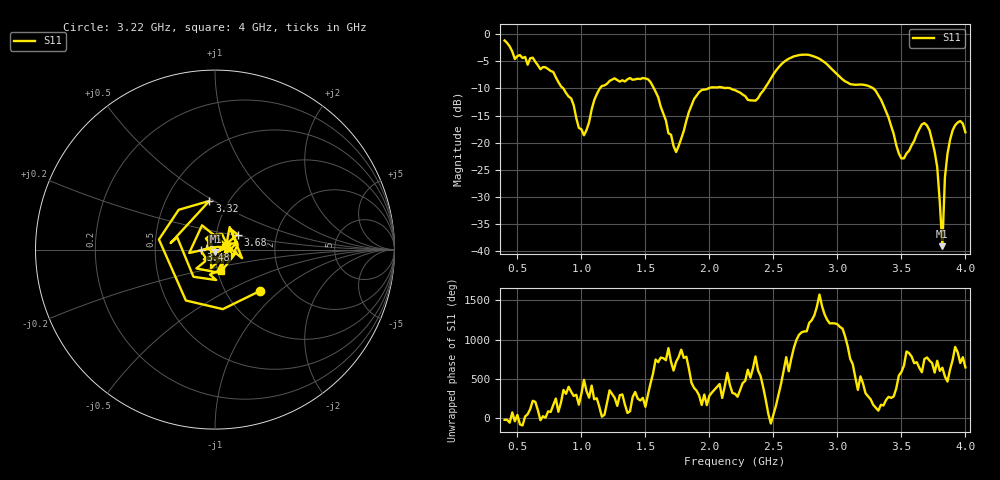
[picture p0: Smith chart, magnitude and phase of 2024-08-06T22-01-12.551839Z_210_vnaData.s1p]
!Created with skrf (http://scikit-rf.org).
# Hz S RI R 50.0
!freq ReS11 ImS11
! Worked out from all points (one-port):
!   181 points, 400 MHz to 4 GHz, reference 50 ohm
!   lowest |S11| = -39.1 dB at 3.82 GHz (marker M1), VSWR 1.02, Z = 50.2 - j1.08 ohm
!   |S11| at or under -10 dB: 858.9 MHz to 1.144 GHz (285.4 MHz wide, 28.5 % of centre); 1.567 GHz to 1.99 GHz (423.7 MHz wide, 23.8 % of centre); 3.281 GHz to end of sweep (the widest 3 of 4)
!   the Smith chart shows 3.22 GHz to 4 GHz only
!   S11 on the Smith chart (normalised r, x): 3.22 GHz: 1.43, -0.75; 3.32 GHz: 0.81, +0.48; 3.48 GHz: 0.85, -0.01; 3.68 GHz: 1.27, +0.22; 4 GHz: 1.04, -0.25
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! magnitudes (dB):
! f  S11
! 400 MHz  -1.1
! 480 MHz  -4.6
! 620 MHz  -4.3
! 860 MHz  -10.0
! 1.02 GHz  -18.7
! 1.14 GHz  -10.1
! 1.3 GHz  -8.7
! 1.52 GHz  -8.3
! 1.74 GHz  -21.7
! 1.76 GHz  -20.6
! 1.92 GHz  -10.7
! 2.2 GHz  -10.3
! 2.36 GHz  -12.3
! 2.66 GHz  -4.1
! 2.86 GHz  -4.5
! 3.1 GHz  -9.2
! 3.22 GHz  -9.4
! 3.32 GHz  -11.3
! 3.48 GHz  -22.0
! 3.56 GHz  -21.5
! 3.68 GHz  -16.4
! 3.72 GHz  -17.8
! 3.78 GHz  -24.5
! 3.82 GHz  -39.1
! 3.84 GHz  -26.4
! 3.88 GHz  -19.5
! 3.96 GHz  -16.0
! 4 GHz  -18.1
